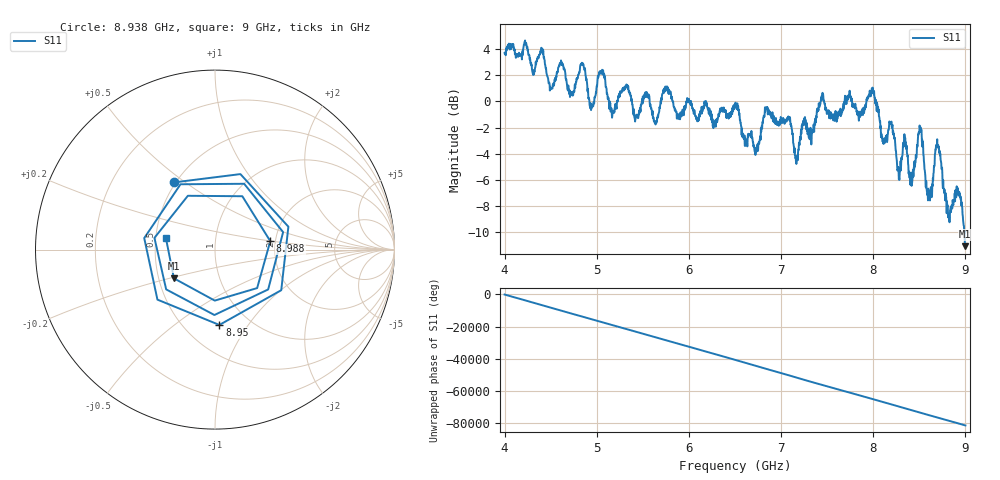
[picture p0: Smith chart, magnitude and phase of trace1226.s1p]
! Created with skrf 1.8.0 (http://scikit-rf.org).
# Hz S RI R 50.0
!freq ReS11 ImS11
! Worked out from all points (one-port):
!   1601 points, 4 GHz to 9 GHz, reference 50 ohm
!   lowest |S11| = -11.1 dB at 8.997 GHz (marker M1), VSWR 1.77, Z = 30 - j10.4 ohm
!   |S11| at or under -10 dB: 8.987148 GHz to 8.990192 GHz (3.044 MHz wide, 0.0339 % of centre); 8.991146 GHz to end of sweep
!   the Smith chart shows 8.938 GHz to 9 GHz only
!   S11 on the Smith chart (normalised r, x): 8.938 GHz: 0.49, +0.46; 8.95 GHz: 0.73, -0.74; 8.988 GHz: 1.88, +0.20; 9 GHz: 0.57, +0.08
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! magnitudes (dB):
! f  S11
! 4 GHz  3.7
! 4.512 GHz  1.0
! 4.625 GHz  2.8
! 4.725 GHz  0.6
! 4.847 GHz  2.9
! 4.947 GHz  -0.4
! 5.044 GHz  2.2
! 5.162 GHz  -0.9
! 5.25 GHz  0.4
! 5.875 GHz  -1.0
! 6.5 GHz  -0.3
! 6.725 GHz  -3.9
! 6.85 GHz  -0.6
! 7.125 GHz  -2.4
! 7.75 GHz  0.3
! 7.988 GHz  0.9
! 8.275 GHz  -5.4
! 8.375 GHz  -4.2
! 8.419 GHz  -5.9
! 8.512 GHz  -2.0
! 8.597 GHz  -6.7
! 8.697 GHz  -3.5
! 8.812 GHz  -8.9
! 8.938 GHz  -7.2
! 8.95 GHz  -7.5
! 8.988 GHz  -10.1
! 8.997 GHz  -11.1
! 9 GHz  -11.0
